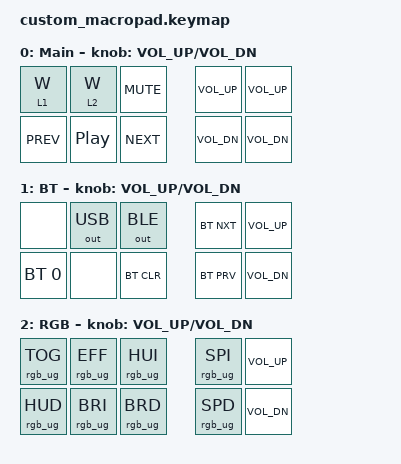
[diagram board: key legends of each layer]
#include <behaviors.dtsi>
#include <dt-bindings/zmk/keys.h>
#include <dt-bindings/zmk/bt.h>
#include <dt-bindings/zmk/outputs.h>
#include <dt-bindings/zmk/rgb.h>

/ {
    keymap {
        compatible = "zmk,keymap";

        default_layer {
            display-name = "Main";
            bindings = <
                &lt 1 W          /* pos 0: 点按W / 长按进层1(BT)   */
                &lt 2 W          /* pos 1: 点按W / 长按进层2(灯光) */
                &kp C_MUTE       /* pos 2: 静音                    */
                &kp C_PREV       /* pos 3: 上一曲                  */
                &kp C_PP         /* pos 4: 播放/暂停               */
                &kp C_NEXT       /* pos 5: 下一曲                  */
                &kp C_VOL_UP     /* pos 6: 旋钮 CW  音量+           */
                &kp C_VOL_DN     /* pos 7: 旋钮 CCW 音量-           */
                &kp C_VOL_UP     /* pos 8: 滑条 VOL+                */
                &kp C_VOL_DN     /* pos 9: 滑条 VOL-                */
            >;
            sensor-bindings = <&inc_dec_kp C_VOL_UP C_VOL_DN>;
        };

        bt_layer {
            display-name = "BT";
            bindings = <
                &none            /* pos 0 */
                &out OUT_USB     /* pos 1: 切USB    */
                &out OUT_BLE     /* pos 2: 切蓝牙   */
                &bt BT_SEL 0     /* pos 3: 蓝牙设备1 */
                &none            /* pos 4 */
                &bt BT_CLR       /* pos 5: 清除配对 */
                &bt BT_NXT       /* pos 6: 下一蓝牙 */
                &bt BT_PRV       /* pos 7: 上一蓝牙 */
                &kp C_VOL_UP     /* pos 8: 滑条 VOL+ (跨层保留)     */
                &kp C_VOL_DN     /* pos 9: 滑条 VOL-                */
            >;
            sensor-bindings = <&inc_dec_kp C_VOL_UP C_VOL_DN>;
        };

        rgb_layer {
            display-name = "RGB";
            bindings = <
                &rgb_ug RGB_TOG  /* pos 0: 背光开关     */
                &rgb_ug RGB_EFF  /* pos 1: 切换灯效     */
                &rgb_ug RGB_HUI  /* pos 2: 色相 +       */
                &rgb_ug RGB_HUD  /* pos 3: 色相 -       */
                &rgb_ug RGB_BRI  /* pos 4: 亮度 +       */
                &rgb_ug RGB_BRD  /* pos 5: 亮度 -       */
                &rgb_ug RGB_SPI  /* pos 6: 灯效速度 +   */
                &rgb_ug RGB_SPD  /* pos 7: 灯效速度 -   */
                &kp C_VOL_UP     /* pos 8: 滑条 VOL+    */
                &kp C_VOL_DN     /* pos 9: 滑条 VOL-    */
            >;
            sensor-bindings = <&inc_dec_kp C_VOL_UP C_VOL_DN>;
        };
    };
};
